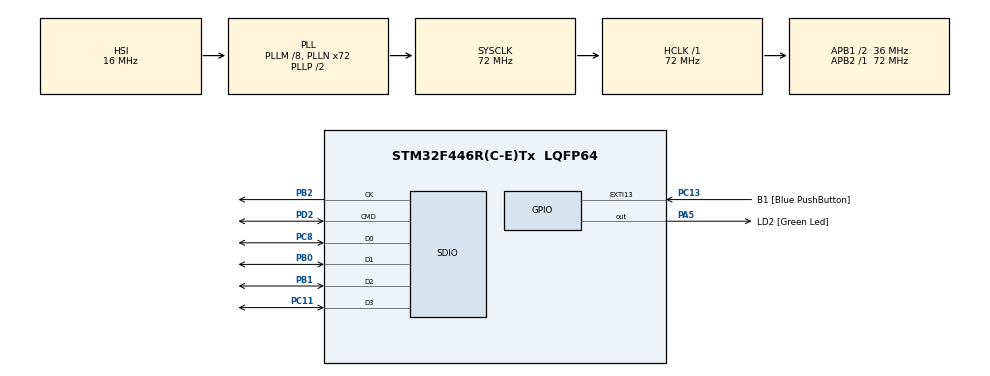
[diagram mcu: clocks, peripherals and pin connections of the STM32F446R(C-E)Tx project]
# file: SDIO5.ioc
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FATFS._MAX_SS=4096
FATFS._USE_BUFF_WO_ALIGNMENT=2
FATFS._USE_ERASE=0
Mcu.Family=STM32F4
Mcu.Name=STM32F446R(C-E)Tx
Mcu.Package=LQFP64
NVIC.PriorityGroup=NVIC_PRIORITYGROUP_0
PA13.GPIO_Label=TMS
PA13.Signal=SYS_JTMS-SWDIO
PA14.GPIO_Label=TCK
PA14.Signal=SYS_JTCK-SWCLK
PA2.GPIO_Label=USART_TX
PA2.Signal=USART2_TX
PA3.GPIO_Label=USART_RX
PA3.Signal=USART2_RX
PA5.GPIO_Label=LD2 [Green Led]
PA5.Signal=GPIO_Output
PB0.GPIO_PuPd=GPIO_PULLUP
PB0.Mode=SD_4_bits_Wide_bus
PB0.Signal=SDIO_D1
PB1.GPIO_PuPd=GPIO_PULLUP
PB1.Mode=SD_4_bits_Wide_bus
PB1.Signal=SDIO_D2
PB2.GPIO_PuPd=GPIO_NOPULL
PB2.Mode=SD_4_bits_Wide_bus
PB2.Signal=SDIO_CK
PB3.GPIO_Label=SWO
PB3.Signal=SYS_JTDO-SWO
PC11.GPIO_PuPd=GPIO_PULLUP
PC11.Mode=SD_4_bits_Wide_bus
PC11.Signal=SDIO_D3
PC13.GPIO_Label=B1 [Blue PushButton]
PC13.GPIO_ModeDefaultEXTI=GPIO_MODE_IT_FALLING
PC13.Signal=GPXTI13
PC14-OSC32_IN.Signal=RCC_OSC32_IN
PC15-OSC32_OUT.Signal=RCC_OSC32_OUT
PC8.GPIO_PuPd=GPIO_PULLUP
PC8.Mode=SD_4_bits_Wide_bus
PC8.Signal=SDIO_D0
PD2.GPIO_PuPd=GPIO_PULLUP
PD2.Mode=SD_4_bits_Wide_bus
PD2.Signal=SDIO_CMD
PH0-OSC_IN.Signal=RCC_OSC_IN
PH1-OSC_OUT.Signal=RCC_OSC_OUT
ProjectManager.HeapSize=0x2000
ProjectManager.StackSize=0x2000
ProjectManager.TargetToolchain=SW4STM32
RCC.AHBCLKDivider=RCC_SYSCLK_DIV1
RCC.AHBFreq_Value=72000000
RCC.APB1CLKDivider=RCC_HCLK_DIV2
RCC.APB1Freq_Value=36000000
RCC.APB1TimFreq_Value=72000000
RCC.APB2CLKDivider=RCC_HCLK_DIV1
RCC.APB2Freq_Value=72000000
RCC.APB2TimFreq_Value=72000000
RCC.CECEnable=false
RCC.ClockTypeHCLK=RCC_CLOCKTYPE_HCLK
RCC.ClockTypePCLK1=RCC_CLOCKTYPE_PCLK1
RCC.ClockTypePCLK2=RCC_CLOCKTYPE_PCLK2
RCC.ClockTypeSysClk=RCC_CLOCKTYPE_SYSCLK
RCC.CortexFreq_Value=72000000
RCC.EnableFMPI2C1=false
RCC.EnableHSE=false
RCC.EnableHSERTCDevisor=false
RCC.EnableI2S1=false
RCC.EnableI2S2=false
RCC.EnableLSE=false
RCC.EnableLSERTC=false
RCC.EnableSAIA=false
RCC.EnableSAIB=false
RCC.EnableSDIO=true
RCC.EnableSPDIF=false
RCC.EnableUSB=false
RCC.EnbaleCSS=false
RCC.ExtClockEnable=false
RCC.FLatency-AdvancedSettings=FLASH_LATENCY_2
RCC.HCLKFreq_Value=72000000
RCC.HSEState=RCC_HSE_OFF
RCC.HSE_VALUE=8000000
RCC.HSIState=RCC_HSI_ON
RCC.HSI_VALUE=16000000
RCC.IWDGEnable=false
RCC.LSE_VALUE=32768
RCC.LSIState=RCC_LSI_OFF
RCC.MCO1OutPutEnable=false
RCC.MCO2OutPutEnable=false
RCC.OscillatorTypeHSI=RCC_OSCILLATORTYPE_HSI
RCC.PLLM=8
RCC.PLLN=72
RCC.PLLP=RCC_PLLP_DIV2
RCC.PLLQ=3
RCC.PLLSource=RCC_PLLSOURCE_HSI
RCC.PLLState=RCC_PLL_ON
RCC.RCC_PERIPHCLK_CK48Var=RCC_PERIPHCLK_CLK48
RCC.RCC_PERIPHCLK_SDIOVar=RCC_PERIPHCLK_SDIO
RCC.RCC_RTC_Clock_Source=RCC_RTCCLKSOURCE_LSI
RCC.RTCEnable=false
RCC.SYSCLKFreq_VALUE=72000000
RCC.SYSCLKSource=RCC_SYSCLKSOURCE_PLLCLK
RCC.USBFreq_Value=48000000
RCC.VCOOutputFreq_Value=144000000
SDIO.BusWide=SDIO_BUS_WIDE_1B
SDIO.ClockBypass=SDIO_CLOCK_BYPASS_DISABLE
SDIO.ClockEdge=SDIO_CLOCK_EDGE_RISING
SDIO.ClockPowerSave=SDIO_CLOCK_POWER_SAVE_DISABLE
SDIO.HardwareFlowControl=SDIO_HARDWARE_FLOW_CONTROL_DISABLE
SDIO.WideMode=SDIO_BUS_WIDE_4B
VP_FATFS_VS_SDIO.Mode=SDIO
board=NUCLEO-F446RE

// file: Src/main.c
/**
  ******************************************************************************
  * File Name          : main.c
  * Description        : Main program body
  ******************************************************************************
  *
  * Copyright (c) 2017 STMicroelectronics International N.V.
  * All rights reserved.
  *
  * Redistribution and use in source and binary forms, with or without
  * modification, are permitted, provided that the following conditions are met:
  *
  * 1. Redistribution of source code must retain the above copyright notice,
  *    this list of conditions and the following disclaimer.
  * 2. Redistributions in binary form must reproduce the above copyright notice,
  *    this list of conditions and the following disclaimer in the documentation
  *    and/or other materials provided with the distribution.
  * 3. Neither the name of STMicroelectronics nor the names of other
  *    contributors to this software may be used to endorse or promote products
  *    derived from this software without specific written permission.
  * 4. This software, including modifications and/or derivative works of this
  *    software, must execute solely and exclusively on microcontroller or
  *    microprocessor devices manufactured by or for STMicroelectronics.
  * 5. Redistribution and use of this software other than as permitted under
  *    this license is void and will automatically terminate your rights under
  *    this license.
  *
  * THIS SOFTWARE IS PROVIDED BY STMICROELECTRONICS AND CONTRIBUTORS "AS IS"
  * AND ANY EXPRESS, IMPLIED OR STATUTORY WARRANTIES, INCLUDING, BUT NOT
  * LIMITED TO, THE IMPLIED WARRANTIES OF MERCHANTABILITY, FITNESS FOR A
  * PARTICULAR PURPOSE AND NON-INFRINGEMENT OF THIRD PARTY INTELLECTUAL PROPERTY
  * RIGHTS ARE DISCLAIMED TO THE FULLEST EXTENT PERMITTED BY LAW. IN NO EVENT
  * SHALL STMICROELECTRONICS OR CONTRIBUTORS BE LIABLE FOR ANY DIRECT, INDIRECT,
  * INCIDENTAL, SPECIAL, EXEMPLARY, OR CONSEQUENTIAL DAMAGES (INCLUDING, BUT NOT
  * LIMITED TO, PROCUREMENT OF SUBSTITUTE GOODS OR SERVICES; LOSS OF USE, DATA,
  * OR PROFITS; OR BUSINESS INTERRUPTION) HOWEVER CAUSED AND ON ANY THEORY OF
  * LIABILITY, WHETHER IN CONTRACT, STRICT LIABILITY, OR TORT (INCLUDING
  * NEGLIGENCE OR OTHERWISE) ARISING IN ANY WAY OUT OF THE USE OF THIS SOFTWARE,
  * EVEN IF ADVISED OF THE POSSIBILITY OF SUCH DAMAGE.
  *
  ******************************************************************************
  */
#include "main.h"
#include "stm32f4xx_hal.h"
#include "fatfs.h"
#include "string.h"

SD_HandleTypeDef hsd;

/* USER CODE BEGIN PV */
/* Private variables ---------------------------------------------------------*/

/* USER CODE END PV */

void SystemClock_Config(void);
void Error_Handler(void);
static void MX_GPIO_Init(void);
static void MX_SDIO_SD_Init(void);

/* USER CODE BEGIN PFP */
/* Private function prototypes -----------------------------------------------*/

/* USER CODE END PFP */

int main(void)
{

  /* USER CODE BEGIN 1 */
	FATFS SDFatFs;
	FIL myFile;
	FRESULT res;
	char SDPath[4];
	uint32_t byteswritten, bytesread;                     /* File write/read counts */
	char wtext[255]; /* File write buffer */

  /* USER CODE END 1 */

  /* MCU Configuration----------------------------------------------------------*/

  /* Reset of all peripherals, Initializes the Flash interface and the Systick. */
  HAL_Init();

  /* Configure the system clock */
  SystemClock_Config();

  /* Initialize all configured peripherals */
  MX_GPIO_Init();
  MX_SDIO_SD_Init();
  //MX_FATFS_Init();

  /* USER CODE BEGIN 2 */
  FATFS_LinkDriver(&SD_Driver, SD_Path);
  res=f_mount(&SDFatFs,SD_Path,0);
  if (res!=FR_OK){
	 //HAL_GPIO_WritePin(GPIOA, GPIO_PIN_5, GPIO_PIN_SET);
	   //Error_Handler();
   }
  //f_mkfs(SD_Path, 0, 0);
 res=f_open(&myFile, "magyar.txt", FA_CREATE_ALWAYS | FA_WRITE);//pont és kiterjesztés nélkül 8 karakter hosszú fajlnév még nûködik
  if (res!=FR_OK){
	  //HAL_GPIO_WritePin(GPIOA, GPIO_PIN_5, GPIO_PIN_SET);
  }
  strcpy(wtext,"árvíztûrõ tükörfúrógép\n");
  res = f_write(&myFile, wtext, strlen(wtext), (void*)&byteswritten);
  /*strcpy(wtext,"második sor\n");
  res = f_write(&myFile, wtext, strlen(wtext), (void*)&byteswritten);
  strcpy(wtext,"Harmadik sor. valami szoveg.\n");
  res = f_write(&myFile, wtext, strlen(wtext), (void*)&byteswritten);*/

  //res=f_printf(&myFile, "%s", "vegre mukodik ez a fostalicska\n");
  //res=f_puts ("mukodik ez a szar\n",&myFile);
  if (res!=FR_OK){
		HAL_GPIO_WritePin(GPIOA, GPIO_PIN_5, GPIO_PIN_SET);
		 // Error_Handler();
	}
	f_close(&myFile);
	//HAL_GPIO_WritePin(GPIOA, GPIO_PIN_5, GPIO_PIN_SET);

  /* USER CODE END 2 */

  /* Infinite loop */
  while (1)
  {

  }

}

/** System Clock Configuration
*/
void SystemClock_Config(void)
{

  RCC_OscInitTypeDef RCC_OscInitStruct;
  RCC_ClkInitTypeDef RCC_ClkInitStruct;
  RCC_PeriphCLKInitTypeDef PeriphClkInitStruct;

    /**Configure the main internal regulator output voltage
    */
  __HAL_RCC_PWR_CLK_ENABLE();

  __HAL_PWR_VOLTAGESCALING_CONFIG(PWR_REGULATOR_VOLTAGE_SCALE3);

    /**Initializes the CPU, AHB and APB busses clocks
    */
  RCC_OscInitStruct.OscillatorType = RCC_OSCILLATORTYPE_HSI;
  RCC_OscInitStruct.HSIState = RCC_HSI_ON;
  RCC_OscInitStruct.HSICalibrationValue = 16;
  RCC_OscInitStruct.PLL.PLLState = RCC_PLL_ON;
  RCC_OscInitStruct.PLL.PLLSource = RCC_PLLSOURCE_HSI;
  RCC_OscInitStruct.PLL.PLLM = 8;
  RCC_OscInitStruct.PLL.PLLN = 72;
  RCC_OscInitStruct.PLL.PLLP = RCC_PLLP_DIV2;
  RCC_OscInitStruct.PLL.PLLQ = 3;
  RCC_OscInitStruct.PLL.PLLR = 2;
  if (HAL_RCC_OscConfig(&RCC_OscInitStruct) != HAL_OK)
  {
    Error_Handler();
  }

    /**Initializes the CPU, AHB and APB busses clocks
    */
  RCC_ClkInitStruct.ClockType = RCC_CLOCKTYPE_HCLK|RCC_CLOCKTYPE_SYSCLK
                              |RCC_CLOCKTYPE_PCLK1|RCC_CLOCKTYPE_PCLK2;
  RCC_ClkInitStruct.SYSCLKSource = RCC_SYSCLKSOURCE_PLLCLK;
  RCC_ClkInitStruct.AHBCLKDivider = RCC_SYSCLK_DIV1;
  RCC_ClkInitStruct.APB1CLKDivider = RCC_HCLK_DIV2;
  RCC_ClkInitStruct.APB2CLKDivider = RCC_HCLK_DIV1;

  if (HAL_RCC_ClockConfig(&RCC_ClkInitStruct, FLASH_LATENCY_2) != HAL_OK)
  {
    Error_Handler();
  }

  PeriphClkInitStruct.PeriphClockSelection = RCC_PERIPHCLK_SDIO|RCC_PERIPHCLK_CLK48;
  PeriphClkInitStruct.Clk48ClockSelection = RCC_CLK48CLKSOURCE_PLLQ;
  PeriphClkInitStruct.SdioClockSelection = RCC_SDIOCLKSOURCE_CLK48;
  if (HAL_RCCEx_PeriphCLKConfig(&PeriphClkInitStruct) != HAL_OK)
  {
    Error_Handler();
  }

    /**Configure the Systick interrupt time
    */
  HAL_SYSTICK_Config(HAL_RCC_GetHCLKFreq()/1000);

    /**Configure the Systick
    */
  HAL_SYSTICK_CLKSourceConfig(SYSTICK_CLKSOURCE_HCLK);

  /* SysTick_IRQn interrupt configuration */
  HAL_NVIC_SetPriority(SysTick_IRQn, 0, 0);
}

/* SDIO init function */
static void MX_SDIO_SD_Init(void)
{

  hsd.Instance = SDIO;
  hsd.Init.ClockEdge = SDIO_CLOCK_EDGE_RISING;
  hsd.Init.ClockBypass = SDIO_CLOCK_BYPASS_DISABLE;
  hsd.Init.ClockPowerSave = SDIO_CLOCK_POWER_SAVE_DISABLE;
  hsd.Init.BusWide = SDIO_BUS_WIDE_1B;
  hsd.Init.HardwareFlowControl = SDIO_HARDWARE_FLOW_CONTROL_DISABLE;
  hsd.Init.ClockDiv = 0;

}

/** Configure pins as
        * Analog
        * Input
        * Output
        * EVENT_OUT
        * EXTI
     PA2   ------> USART2_TX
     PA3   ------> USART2_RX
*/
static void MX_GPIO_Init(void)
{

  GPIO_InitTypeDef GPIO_InitStruct;

  /* GPIO Ports Clock Enable */
  __HAL_RCC_GPIOC_CLK_ENABLE();
  __HAL_RCC_GPIOH_CLK_ENABLE();
  __HAL_RCC_GPIOA_CLK_ENABLE();
  __HAL_RCC_GPIOB_CLK_ENABLE();
  __HAL_RCC_GPIOD_CLK_ENABLE();

  /*Configure GPIO pin Output Level */
  HAL_GPIO_WritePin(LD2_GPIO_Port, LD2_Pin, GPIO_PIN_RESET);

  /*Configure GPIO pin : B1_Pin */
  GPIO_InitStruct.Pin = B1_Pin;
  GPIO_InitStruct.Mode = GPIO_MODE_IT_FALLING;
  GPIO_InitStruct.Pull = GPIO_NOPULL;
  HAL_GPIO_Init(B1_GPIO_Port, &GPIO_InitStruct);

  /*Configure GPIO pins : USART_TX_Pin USART_RX_Pin */
  GPIO_InitStruct.Pin = USART_TX_Pin|USART_RX_Pin;
  GPIO_InitStruct.Mode = GPIO_MODE_AF_PP;
  GPIO_InitStruct.Pull = GPIO_NOPULL;
  GPIO_InitStruct.Speed = GPIO_SPEED_FREQ_VERY_HIGH;
  GPIO_InitStruct.Alternate = GPIO_AF7_USART2;
  HAL_GPIO_Init(GPIOA, &GPIO_InitStruct);

  /*Configure GPIO pin : LD2_Pin */
  GPIO_InitStruct.Pin = LD2_Pin;
  GPIO_InitStruct.Mode = GPIO_MODE_OUTPUT_PP;
  GPIO_InitStruct.Pull = GPIO_NOPULL;
  GPIO_InitStruct.Speed = GPIO_SPEED_FREQ_LOW;
  HAL_GPIO_Init(LD2_GPIO_Port, &GPIO_InitStruct);

}

void Error_Handler(void)
{
  while(1)
  {
  }
}

/************************ (C) COPYRIGHT STMicroelectronics *****END OF FILE****/
